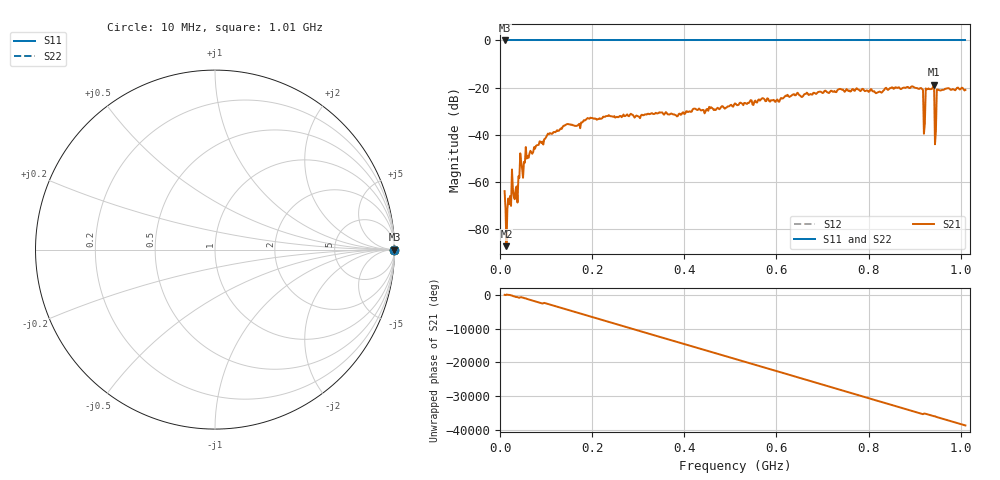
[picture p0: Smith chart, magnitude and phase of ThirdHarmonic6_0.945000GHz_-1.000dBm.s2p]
! 8/16/2025 6:43:42 AM
! C:\ANRITSUVNA\TEMP\TEMP.S2P
! CHANNEL.1
! TR.MEASUREMENT
! RAW.DATA
! RF.CORRECTION.OFF
! AVERAGING.OFF
! IF.BANDWIDTH: 5KHZ
! SWEEPTYPE:  FREQ.SWEEP(Linear)
! Reference Plane Port Info
! PORT:  PORT1  PORT2
! DISTANCE:  0  m  0  m
! TIME:  0  s  0  s
! PHASE.OFFSET:  0  deg.  0  deg.
! LOSS:  0  dB  0  dB
! REF.LOSS:  0  dB  0  dB
! REF.FREQ:  0  Hz  0  Hz
! Power Info
! POWER:  -20  dBm  -20  dBm
! EFF.POWER:  -20  dBm  -20  dBm
! SOURCE.ATTEN:  0  dB  0  dB
! TEST.ATTEN:  0  dB  0  dB
# GHZ S RI R 50.0
! FREQ.GHZ  S11RE  S11IM  S21RE  S21IM  S12RE  S12IM  S22RE  S22IM
!; PortSelection: Port_12
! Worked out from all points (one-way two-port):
!   501 points, 10 MHz to 1.01 GHz, reference 50 ohm
!   highest |S21| = -18.81 dB at 942 MHz (marker M1); lowest = -87.3 dB at 14 MHz (marker M2)
!   lowest |S11| = 0.0 dB at 10 MHz (marker M3)
!   |S11| at or under -10 dB: nowhere
!   |S22| runs from 0.0 to 0.0 dB; largest |S21 - S12| = 1.1
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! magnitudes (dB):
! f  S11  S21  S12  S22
! 10 MHz  0.0  -64.0  0.0  0.0
! 14 MHz  0.0  -87.3  0.0  0.0
! 30 MHz  0.0  -66.3  0.0  0.0
! 34 MHz  0.0  -63.2  0.0  0.0
! 44 MHz  0.0  -47.9  0.0  0.0
! 60 MHz  0.0  -49.1  0.0  0.0
! 106 MHz  0.0  -39.8  0.0  0.0
! 178 MHz  0.0  -34.9  0.0  0.0
! 344 MHz  0.0  -30.8  0.0  0.0
! 510 MHz  0.0  -26.7  0.0  0.0
! 678 MHz  0.0  -23.0  0.0  0.0
! 844 MHz  0.0  -20.7  0.0  0.0
! 914 MHz  0.0  -20.2  0.0  0.0
! 918 MHz  0.0  -21.0  0.0  0.0
! 922 MHz  0.0  -35.4  0.0  0.0
! 924 MHz  0.0  -20.3  0.0  0.0
! 928 MHz  0.0  -20.7  0.0  0.0
! 938 MHz  0.0  -20.5  0.0  0.0
! 942 MHz  0.0  -18.8  0.0  0.0
! 948 MHz  0.0  -20.8  0.0  0.0
! 952 MHz  0.0  -21.0  0.0  0.0
! 1.01 GHz  0.0  -21.0  0.0  0.0
